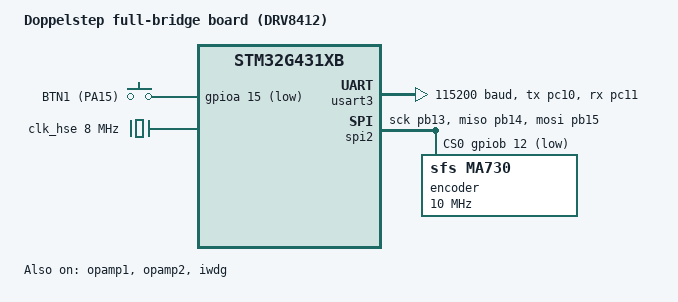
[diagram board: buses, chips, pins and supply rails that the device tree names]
/*
 * SPDX-License-Identifier: Apache-2.0
 *
 * Doppelstep full-bridge board (schematic Stepper-Motor-FOC-Driver, KiCad 8):
 * STM32G431CBU6, TI DRV8412 (two full H-bridges, mode M3..M1 = 000), MA730 magnetic
 * encoder on SPI2, TJA1042 CAN transceiver, eight WS2812B-2020, NTC, 24 V supply.
 *
 * Pin assignment of the schematic:
 *   PA8..PA11  PWM_A..PWM_D (TIM1 CH1..CH4)     PC6   RESET_AB   PA12  RESET_CD
 *   PB11       FAULT                            PB0   OTW
 *   PA1/PA3/PA2  OPAMP1 + / - / out (I_A)       PA7/PA5/PA6  OPAMP2 + / - / out (I_B)
 *   PA0        VBUS (100k / 10k)                PA4   NTC (ADC2_IN17 only)
 *   PB12..PB15 MA730 CS, SCLK, MISO, MOSI (SPI2)
 *   PC10/PC11  USART3 TX/RX (J4)                PB8/PB9  FDCAN1 RX/TX (J6, J7)
 *   PB3        WS2812B data (TIM2 CH2)          PA15  BTN1 (to GND)
 *   PF0/PF1    8 MHz crystal                    PA13/PA14  SWD (J3)
 *
 * The power stage, the motor, the encoder and the servo are described by the
 * application (app/boards/sfs_doppelstep_full_bridge.overlay).
 */

/dts-v1/;
#include <st/g4/stm32g431Xb.dtsi>
#include <st/g4/stm32g431c(6-8-b)ux-pinctrl.dtsi>
#include <zephyr/dt-bindings/input/input-event-codes.h>
#include <zephyr/dt-bindings/led/led.h>

/ {
	model = "Doppelstep full-bridge board (DRV8412)";
	compatible = "sfs,doppelstep-full-bridge";

	chosen {
		zephyr,sram = &sram0;
		zephyr,flash = &flash0;
		zephyr,code-partition = &slot0_partition;
	};

	gpio_keys {
		compatible = "gpio-keys";

		user_button: button {
			label = "BTN1 (PA15)";
			/* SW4 to GND through 330 Ohm, 100 nF to GND: no pull-up on the board */
			gpios = <&gpioa 15 (GPIO_ACTIVE_LOW | GPIO_PULL_UP)>;
			zephyr,code = <INPUT_KEY_0>;
		};
	};

	aliases {
		sw0 = &user_button;
		watchdog0 = &iwdg;
		led-strip = &leds;
	};

	leds: ws2812 {
		compatible = "sfs,ws2812-stm32-tim";
		pinctrl-0 = <&tim2_ch2_pb3>;
		pinctrl-names = "default";
		timer = <&timers2>;
		channel = <2>;
		dmas = <&dmamux1 0 60 0>;
		chain-length = <8>;
		/* WS2812B-2020: latch after more than 280 us low */
		reset-delay = <300>;
		color-mapping = <LED_COLOR_ID_GREEN LED_COLOR_ID_RED LED_COLOR_ID_BLUE>;
	};
};

&clk_lsi {
	status = "okay";
};

/* 8 MHz crystal Y1 on PF0/PF1 */
&clk_hse {
	clock-frequency = <DT_FREQ_M(8)>;
	status = "okay";
};

/* 8 MHz / 2 * 85 / 2 = 170 MHz */
&pll {
	div-m = <2>;
	mul-n = <85>;
	div-p = <2>;
	div-q = <2>;
	div-r = <2>;
	clocks = <&clk_hse>;
	status = "okay";
};

&rcc {
	clocks = <&pll>;
	clock-frequency = <DT_FREQ_M(170)>;
	ahb-prescaler = <1>;
	apb1-prescaler = <1>;
	apb2-prescaler = <1>;
};

/* USART3 on J4 (TX, RX with 10k pull-up, GND; 33 Ohm in series). sfs_dxl_uart: the
 * UART of the DYNAMIXEL bus, for MCUboot serial recovery (app/sysbuild/mcuboot.overlay).
 */
sfs_dxl_uart: &usart3 {
	pinctrl-0 = <&usart3_tx_pc10 &usart3_rx_pc11>;
	pinctrl-names = "default";
	current-speed = <115200>;
	status = "okay";
};

/* MA730 magnetic encoder (U7): SPI mode 3, up to 25 MHz, CS on PB12 (R4 10k pull-up) */
&spi2 {
	pinctrl-0 = <&spi2_sck_pb13 &spi2_miso_pb14 &spi2_mosi_pb15>;
	pinctrl-names = "default";
	cs-gpios = <&gpiob 12 GPIO_ACTIVE_LOW>;
	status = "okay";

	encoder: ma730@0 {
		compatible = "sfs,ma730";
		reg = <0>;
		/* 10 MHz: margin to the 25 MHz of the MA730 on the board traces */
		spi-max-frequency = <10000000>;
	};
};

/*
 * WS2812B-2020 chain D5, D7, D8, D9, D10, D11, D2, D3 on PB3: TIM2 CH2 in PWM mode, one
 * period of 1.25 us per bit, the compare values written by DMA1 channel 1 on every
 * update event (DMAMUX request TIM2_UP = 60). timers2, dma1 and dmamux1 stay disabled:
 * the driver programs them (drivers/ws2812/ws2812_stm32_tim.c).
 */
&timers2 {
	status = "disabled";
};


/*
 * Phase current amplifiers A and B: external feedback (R12/R16, R29/R30: gain
 * 26.5 from the + input), bias from R13/R14, R27/R28. The OPAMPs run standalone,
 * the output stays on its pin for the feedback network and the ADC.
 */
&opamp1 {
	pinctrl-0 = <&opamp1_vinp_pa1 &opamp1_vinm_pa3 &opamp1_vout_pa2>;
	pinctrl-names = "default";
	functional-mode = "standalone";
	inp = "VINP0";
	st,power-mode = "HIGHSPEED";
	status = "okay";
};

&opamp2 {
	pinctrl-0 = <&opamp2_vinp_pa7 &opamp2_vinm_pa5 &opamp2_vout_pa6>;
	pinctrl-names = "default";
	functional-mode = "standalone";
	inp = "VINP0";
	st,power-mode = "HIGHSPEED";
	status = "okay";
};

&iwdg {
	status = "okay";
};

/*
 * 128 KiB of flash, 2 KiB pages, as on the B-G431B-ESC1:
 *
 *   boot_partition     MCUboot (sysbuild, docs/firmware-update.md)
 *   slot0_partition    application, signed; serial recovery writes it
 *   storage_partition  NVS: EEPROM area of the emulated DYNAMIXEL
 */
&flash0 {
	partitions {
		#address-cells = <1>;
		#size-cells = <1>;
		ranges;

		boot_partition: partition@0 {
			compatible = "zephyr,mapped-partition";
			label = "mcuboot";
			reg = <0x00000000 DT_SIZE_K(38)>;
		};

		slot0_partition: partition@9800 {
			compatible = "zephyr,mapped-partition";
			label = "image-0";
			reg = <0x00009800 DT_SIZE_K(86)>;
		};

		/* 2 x 2 KiB flash pages at the end of the 128 KiB of flash */
		storage_partition: partition@1f000 {
			compatible = "zephyr,mapped-partition";
			label = "storage";
			reg = <0x0001f000 DT_SIZE_K(4)>;
		};
	};
};
